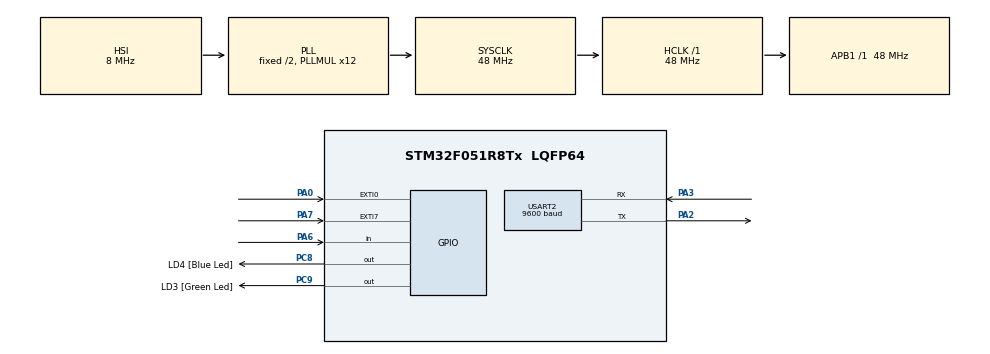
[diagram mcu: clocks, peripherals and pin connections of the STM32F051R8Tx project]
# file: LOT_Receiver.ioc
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Mcu.Family=STM32F0
Mcu.Name=STM32F051R8Tx
Mcu.Package=LQFP64
NVIC.EXTI0_1_IRQn=true\:0\:0\:false\:false\:true\:true\:true\:true
NVIC.EXTI4_15_IRQn=true\:0\:0\:false\:false\:true\:true\:true\:true
NVIC.TIM3_IRQn=true\:0\:0\:false\:false\:true\:true\:true\:true
PA0.Signal=GPXTI0
PA13.GPIO_Label=SWDIO
PA13.Mode=Serial_Wire
PA13.Signal=SYS_SWDIO
PA14.GPIO_Label=SWCLK
PA14.Mode=Serial_Wire
PA14.Signal=SYS_SWCLK
PA2.Mode=Asynchronous
PA2.Signal=USART2_TX
PA3.Mode=Asynchronous
PA3.Signal=USART2_RX
PA6.GPIO_PuPd=GPIO_PULLDOWN
PA6.Signal=GPIO_Input
PA7.GPIO_PuPd=GPIO_PULLDOWN
PA7.Signal=GPXTI7
PC8.GPIO_Label=LD4 [Blue Led]
PC8.Signal=GPIO_Output
PC9.GPIO_Label=LD3 [Green Led]
PC9.Signal=GPIO_Output
ProjectManager.HeapSize=0x200
ProjectManager.StackSize=0x400
ProjectManager.TargetToolchain=STM32CubeIDE
RCC.AHBFreq_Value=48000000
RCC.APB1Freq_Value=48000000
RCC.APB1TimFreq_Value=48000000
RCC.HCLKFreq_Value=48000000
RCC.PLLMUL=RCC_PLL_MUL12
RCC.SYSCLKFreq_VALUE=48000000
RCC.SYSCLKSource=RCC_SYSCLKSOURCE_PLLCLK
TIM3.Period=10000
TIM3.Prescaler=4799
USART2.BaudRate=9600
USART2.VirtualMode-Asynchronous=VM_ASYNC
VP_TIM3_VS_ClockSourceINT.Mode=Internal
board=STM32F0DISCOVERY

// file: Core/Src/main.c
/* USER CODE BEGIN Header */
/**
  ******************************************************************************
  * @file           : main.c
  * @brief          : Main program body
  ******************************************************************************
  * @attention
  *
  * Copyright (c) 2022 STMicroelectronics.
  * All rights reserved.
  *
  * This software is licensed under terms that can be found in the LICENSE file
  * in the root directory of this software component.
  * If no LICENSE file comes with this software, it is provided AS-IS.
  *
  ******************************************************************************
  */
/* USER CODE END Header */
#include "main.h"

/* USER CODE BEGIN Includes */
#include "stdio.h"
/* USER CODE END Includes */

/* USER CODE BEGIN PD */
#define RECIEVING 0
#define IDLE 1
#define WAITING 2

#define ADC_SAMPLE 3
#define NO_CHANGE 4
#define CHECKPOINT 5

#define BAUD_RATE 2
/* USER CODE END PD */

TIM_HandleTypeDef htim3;

UART_HandleTypeDef huart2;

void SystemClock_Config(void);
static void MX_GPIO_Init(void);
static void MX_USART2_UART_Init(void);
static void MX_TIM3_Init(void);
/* USER CODE BEGIN PFP */
void EXTI0_1_IRQHandler(void);
void TIM3_IRQHandler(void);
/* USER CODE END PFP */

/* USER CODE BEGIN 0 */
// Global Variables
uint8_t buffer[128];

uint8_t Message[12];
uint8_t MessageIndex = 0;
uint8_t MessageType = ADC_SAMPLE;

uint32_t MessageCount = 0;
uint32_t CheckpointCount = 0;

uint8_t State = IDLE;
uint8_t CheckpointError = 0;
uint32_t CheckpointTime = 0;

uint32_t ButtonTime;
uint8_t Bounce = 0;

uint16_t Baud_Delay = 1000/(4*BAUD_RATE);
uint16_t ARR = (10000/BAUD_RATE) - 1;
/* USER CODE END 0 */

int main(void)
{

  /* MCU Configuration--------------------------------------------------------*/

  /* Reset of all peripherals, Initializes the Flash interface and the Systick. */
  HAL_Init();

  /* Configure the system clock */
  SystemClock_Config();

  /* Initialize all configured peripherals */
  MX_GPIO_Init();
  MX_USART2_UART_Init();
  MX_TIM3_Init();

  /* Infinite loop */
  while (1)
  {

    /* USER CODE BEGIN 3 */

		  if(CheckpointTime+3000 > HAL_GetTick())
		  {
			  if(CheckpointError)
			  {
			  HAL_Delay(300);
			  HAL_GPIO_TogglePin(GPIOC, GPIO_PIN_8);
			  }
			  else
			  {
				  HAL_Delay(100);
				  HAL_GPIO_TogglePin(GPIOC, GPIO_PIN_9);
			  }

		  }
		  else
		  {
			  HAL_GPIO_WritePin(GPIOC, GPIO_PIN_9, 0);
			  HAL_GPIO_WritePin(GPIOC, GPIO_PIN_8, 0);

		  }
	  if(State == RECIEVING && MessageIndex == 0)
	  {

		  HAL_Delay(Baud_Delay);
		  HAL_TIM_Base_Start_IT(&htim3);
	  }
	  else if(State == WAITING)
	  {
			  if(HAL_GetTick()-ButtonTime>15000)
			  {

				  clear(buffer);
				  sprintf(buffer, "No message received. Entering sleep.\r\n");
				  HAL_UART_Transmit(&huart2, buffer, sizeof(buffer), 1000);

				  State = IDLE;

			  }
		}

  }
  /* USER CODE END 3 */
}

void SystemClock_Config(void)
{
  RCC_OscInitTypeDef RCC_OscInitStruct = {0};
  RCC_ClkInitTypeDef RCC_ClkInitStruct = {0};

  /** Initializes the RCC Oscillators according to the specified parameters
  * in the RCC_OscInitTypeDef structure.
  */
  RCC_OscInitStruct.OscillatorType = RCC_OSCILLATORTYPE_HSI;
  RCC_OscInitStruct.HSIState = RCC_HSI_ON;
  RCC_OscInitStruct.HSICalibrationValue = RCC_HSICALIBRATION_DEFAULT;
  RCC_OscInitStruct.PLL.PLLState = RCC_PLL_ON;
  RCC_OscInitStruct.PLL.PLLSource = RCC_PLLSOURCE_HSI;
  RCC_OscInitStruct.PLL.PLLMUL = RCC_PLL_MUL12;
  RCC_OscInitStruct.PLL.PREDIV = RCC_PREDIV_DIV1;
  if (HAL_RCC_OscConfig(&RCC_OscInitStruct) != HAL_OK)
  {
    Error_Handler();
  }

  /** Initializes the CPU, AHB and APB buses clocks
  */
  RCC_ClkInitStruct.ClockType = RCC_CLOCKTYPE_HCLK|RCC_CLOCKTYPE_SYSCLK
                              |RCC_CLOCKTYPE_PCLK1;
  RCC_ClkInitStruct.SYSCLKSource = RCC_SYSCLKSOURCE_PLLCLK;
  RCC_ClkInitStruct.AHBCLKDivider = RCC_SYSCLK_DIV1;
  RCC_ClkInitStruct.APB1CLKDivider = RCC_HCLK_DIV1;

  if (HAL_RCC_ClockConfig(&RCC_ClkInitStruct, FLASH_LATENCY_1) != HAL_OK)
  {
    Error_Handler();
  }
}

static void MX_TIM3_Init(void)
{

  TIM_ClockConfigTypeDef sClockSourceConfig = {0};
  TIM_MasterConfigTypeDef sMasterConfig = {0};

  htim3.Instance = TIM3;
  htim3.Init.Prescaler = 4799;
  htim3.Init.CounterMode = TIM_COUNTERMODE_UP;
  htim3.Init.Period = ARR;
  htim3.Init.ClockDivision = TIM_CLOCKDIVISION_DIV1;
  htim3.Init.AutoReloadPreload = TIM_AUTORELOAD_PRELOAD_DISABLE;
  if (HAL_TIM_Base_Init(&htim3) != HAL_OK)
  {
    Error_Handler();
  }
  sClockSourceConfig.ClockSource = TIM_CLOCKSOURCE_INTERNAL;
  if (HAL_TIM_ConfigClockSource(&htim3, &sClockSourceConfig) != HAL_OK)
  {
    Error_Handler();
  }
  sMasterConfig.MasterOutputTrigger = TIM_TRGO_RESET;
  sMasterConfig.MasterSlaveMode = TIM_MASTERSLAVEMODE_DISABLE;
  if (HAL_TIMEx_MasterConfigSynchronization(&htim3, &sMasterConfig) != HAL_OK)
  {
    Error_Handler();
  }

}

static void MX_USART2_UART_Init(void)
{

  huart2.Instance = USART2;
  huart2.Init.BaudRate = 9600;
  huart2.Init.WordLength = UART_WORDLENGTH_8B;
  huart2.Init.StopBits = UART_STOPBITS_1;
  huart2.Init.Parity = UART_PARITY_NONE;
  huart2.Init.Mode = UART_MODE_TX_RX;
  huart2.Init.HwFlowCtl = UART_HWCONTROL_NONE;
  huart2.Init.OverSampling = UART_OVERSAMPLING_16;
  huart2.Init.OneBitSampling = UART_ONE_BIT_SAMPLE_DISABLE;
  huart2.AdvancedInit.AdvFeatureInit = UART_ADVFEATURE_NO_INIT;
  if (HAL_UART_Init(&huart2) != HAL_OK)
  {
    Error_Handler();
  }

}

static void MX_GPIO_Init(void)
{
  GPIO_InitTypeDef GPIO_InitStruct = {0};

  /* GPIO Ports Clock Enable */
  __HAL_RCC_GPIOA_CLK_ENABLE();
  __HAL_RCC_GPIOC_CLK_ENABLE();

  /*Configure GPIO pin Output Level */
  HAL_GPIO_WritePin(GPIOC, LD4_Pin|LD3_Pin, GPIO_PIN_RESET);

  /*Configure GPIO pin : PA0 */
  GPIO_InitStruct.Pin = GPIO_PIN_0;
  GPIO_InitStruct.Mode = GPIO_MODE_IT_RISING;
  GPIO_InitStruct.Pull = GPIO_NOPULL;
  HAL_GPIO_Init(GPIOA, &GPIO_InitStruct);

  /*Configure GPIO pin : PA6 */
  GPIO_InitStruct.Pin = GPIO_PIN_6;
  GPIO_InitStruct.Mode = GPIO_MODE_INPUT;
  GPIO_InitStruct.Pull = GPIO_NOPULL;
  HAL_GPIO_Init(GPIOA, &GPIO_InitStruct);

  /*Configure GPIO pin : PA7 */
  GPIO_InitStruct.Pin = GPIO_PIN_7;
  GPIO_InitStruct.Mode = GPIO_MODE_IT_RISING;
  GPIO_InitStruct.Pull = GPIO_PULLDOWN;
  HAL_GPIO_Init(GPIOA, &GPIO_InitStruct);

  /*Configure GPIO pins : LD4_Pin LD3_Pin */
  GPIO_InitStruct.Pin = LD4_Pin|LD3_Pin;
  GPIO_InitStruct.Mode = GPIO_MODE_OUTPUT_PP;
  GPIO_InitStruct.Pull = GPIO_NOPULL;
  GPIO_InitStruct.Speed = GPIO_SPEED_FREQ_LOW;
  HAL_GPIO_Init(GPIOC, &GPIO_InitStruct);

  /* EXTI interrupt init*/
  HAL_NVIC_SetPriority(EXTI0_1_IRQn, 0, 0);
  HAL_NVIC_EnableIRQ(EXTI0_1_IRQn);

  HAL_NVIC_SetPriority(EXTI4_15_IRQn, 0, 0);
  HAL_NVIC_EnableIRQ(EXTI4_15_IRQn);

}

/* USER CODE BEGIN 4 */
void TIM3_IRQHandler(void)
{

	HAL_TIM_IRQHandler(&htim3);

	if(!((MessageCount==1)&&(MessageIndex ==0)))
	{
		Message[MessageIndex] = HAL_GPIO_ReadPin(GPIOA, GPIO_PIN_6);
		clear(buffer);
		sprintf(buffer, "Bit received: %d\n\r", Message[MessageIndex]);
		HAL_UART_Transmit(&huart2, buffer, sizeof(buffer), 1000);
	}

	if(MessageIndex == 1)
	{
		if(!Message[0]&&Message[1])
		{
			MessageType = NO_CHANGE;
			State = IDLE;
			HAL_TIM_Base_Stop_IT(&htim3);
//			clear(buffer);
//			sprintf(buffer, "Message %s\n\r", ASCII(Message));
//			HAL_UART_Transmit(&huart2, buffer, sizeof(buffer), 1000);
		}
		else if(Message[0]&&!Message[1])
		{
			CheckpointCount += 10;
			if(MessageCount != CheckpointCount)
			{
				MessageCount = CheckpointCount;
				clear(buffer);
				sprintf(buffer, "Transmitted messages not equal to recieved messages. Updating count.\r\n");
				HAL_UART_Transmit(&huart2, buffer, sizeof(buffer), 1000);

				CheckpointError = 1;

			}
			else
			{
				clear(buffer);
				sprintf(buffer, "Transmitted messages equal to received messages.\r\n");
				HAL_UART_Transmit(&huart2, buffer, sizeof(buffer), 1000);
				CheckpointError = 0;
			}

			CheckpointTime = HAL_GetTick();
		}
	}
	if(MessageIndex==10)
	{
		HAL_TIM_Base_Stop_IT(&htim3);
		State = IDLE;
//		clear(buffer);
//		sprintf(buffer, "Message %s\n\r", ASCII(Message));
//		HAL_UART_Transmit(&huart2, buffer, sizeof(buffer), 1000);

	}

	MessageIndex++;

}

void EXTI0_1_IRQHandler(void)
{
	HAL_GPIO_EXTI_IRQHandler(GPIO_PIN_0);
	if(State == IDLE)
	{

		if(HAL_GetTick() - ButtonTime > 300)
		{
			Bounce = 0 ;
		}
		if(Bounce == 0)
		{
			clear(buffer);
			sprintf(buffer, "Waiting for Transmission: \n\r");
			HAL_UART_Transmit(&huart2, buffer, sizeof(buffer), 1000);

			State = WAITING;

		}

		ButtonTime = HAL_GetTick();
		Bounce = 1;
	}
	//Disable interrupt

	//On button push Transmit wating for message and then begin polling the GPIO pin

}

void EXTI4_15_IRQHandler(void)
{

	HAL_GPIO_EXTI_IRQHandler(GPIO_PIN_7);
	//Disable the interrupt on Pin7
	if(State == WAITING)
	{
		MessageCount++;
		MessageIndex = 0;
		State = RECIEVING;

	}

}

void SaveMessage(void)
{

}

//void ASCII(char* buffer)
//{
//	int i = 0;
//	while(i != 9)
//	{
//		buffer[i] += 48;
//		i++;
//	}
//	buffer[10] = '\0';
//}

void clear(char*buffer)
{
	int i = 0;
	while(buffer[i]!='\0')
	{
		buffer[i] = '\0';
		i++;
	}
}
/* USER CODE END 4 */

void Error_Handler(void)
{
  __disable_irq();
  while (1)
  {
  }
}
